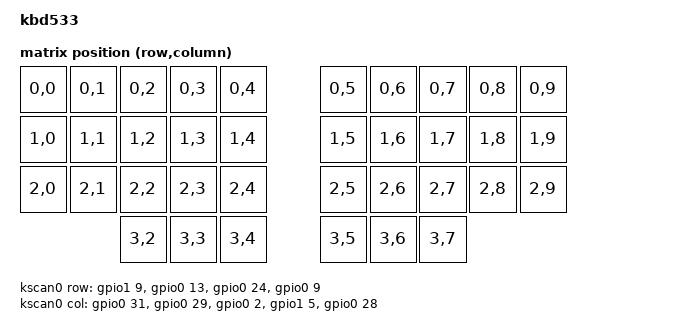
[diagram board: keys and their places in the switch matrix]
/*
 * Copyright (c) 2021 Pavel Glushkov
 *
 * SPDX-License-Identifier: MIT
 */

/dts-v1/;
#include <nordic/nrf52833_qiaa.dtsi>
 
/ {
    model = "kbd533";
    compatible = "kbd533";
 
    chosen {
      zephyr,code-partition = &code_partition;
      zephyr,sram = &sram0;
      zephyr,flash = &flash0;
      zmk,kscan = &kscan0;
	 	  zmk,matrix_transform = &default_transform;
    };

    default_transform: keymap_transform_1 {
      compatible = "zmk,matrix-transform";
      columns = <10>;
      rows = <4>;
      map = <
        RC(0,0) RC(0,1) RC(0,2) RC(0,3) RC(0,4)  RC(0,5) RC(0,6) RC(0,7) RC(0,8) RC(0,9)
        RC(1,0) RC(1,1) RC(1,2) RC(1,3) RC(1,4)  RC(1,5) RC(1,6) RC(1,7) RC(1,8) RC(1,9)
        RC(2,0) RC(2,1) RC(2,2) RC(2,3) RC(2,4)  RC(2,5) RC(2,6) RC(2,7) RC(2,8) RC(2,9)
                        RC(3,2) RC(3,3) RC(3,4)  RC(3,5) RC(3,6) RC(3,7)
      >;
    };
  
    kscan0: kscan {
      compatible = "zmk,kscan-gpio-matrix";
      label = "KSCAN";
  
      diode-direction = "col2row";
      row-gpios
        = <&gpio1  9 (GPIO_ACTIVE_HIGH | GPIO_PULL_DOWN)>
        , <&gpio0 13 (GPIO_ACTIVE_HIGH | GPIO_PULL_DOWN)>
        , <&gpio0 24 (GPIO_ACTIVE_HIGH | GPIO_PULL_DOWN)>
        , <&gpio0  9 (GPIO_ACTIVE_HIGH | GPIO_PULL_DOWN)>
        ;

      col-gpios
        = <&gpio0 31 GPIO_ACTIVE_HIGH>
        , <&gpio0 29 GPIO_ACTIVE_HIGH>
        , <&gpio0  2 GPIO_ACTIVE_HIGH>
        , <&gpio1  5 GPIO_ACTIVE_HIGH>
        , <&gpio0 28 GPIO_ACTIVE_HIGH>
        ; 
      
    };
 
    leds {
      compatible = "gpio-leds";
      blue_led: led_0 {
        gpios = <&gpio0 25 GPIO_ACTIVE_HIGH>;
        label = "Blue LED";
      };
    };
 
    vbatt {
      compatible = "zmk,battery-voltage-divider";
      label = "BATTERY";
      io-channels = <&adc 3>;
      output-ohms = <2000000>;
      full-ohms = <(2000000 + 820000)>;
    };
};
 
&adc {
  status = "okay";
};

&gpiote {
  status = "okay";
};

&gpio0 {
  status = "okay";
};

&gpio1 {
  status = "okay";
};

&uart0 {
  compatible = "nordic,nrf-uarte";
  tx-pin = <6>;
  rx-pin = <8>;
};

&usbd {
  status = "okay";
};


&flash0 {
  /*
  * For more information, see:
  * http://docs.zephyrproject.org/latest/devices/dts/flash_partitions.html
  */
  partitions {
    compatible = "fixed-partitions";
    #address-cells = <1>;
    #size-cells = <1>;

    sd_partition: partition@0 {
      label = "softdevice";
      reg = <0x00000000 0x00026000>;
    };
    code_partition: partition@26000 {
      label = "code_partition";
      reg = <0x00026000 0x00046000>;
    };

    /*
    * The flash starting at 0x0006c000 and ending at
    * 0x00073fff is reserved for use by the application.
    */

    /*
    * Storage partition will be used by FCB/LittleFS/NVS
    * if enabled.
    */
    storage_partition: partition@6c000 {
      label = "storage";
      reg = <0x0006c000 0x00008000>;
    };

    boot_partition: partition@74000 {
      label = "adafruit_boot";
      reg = <0x00074000 0x0000c000>;
    };
  };
};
